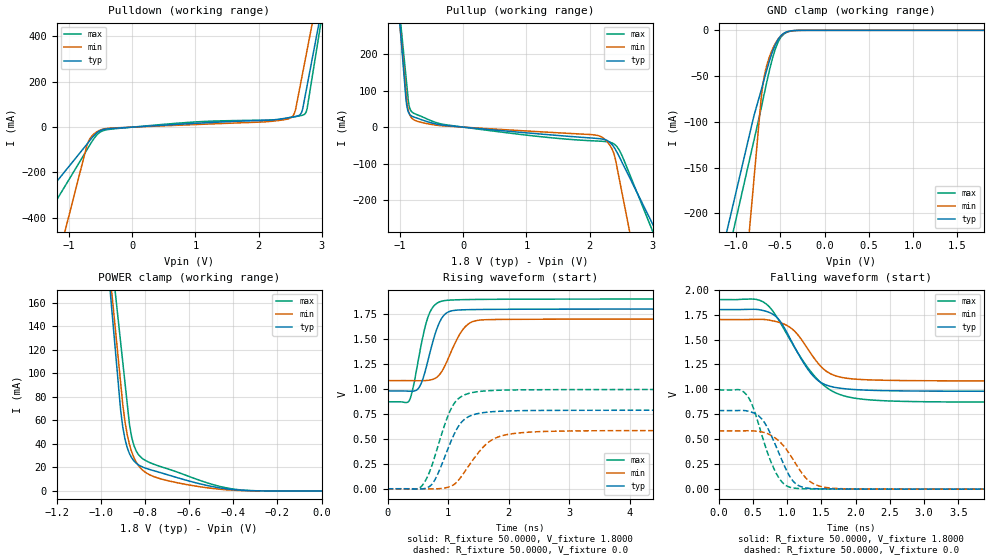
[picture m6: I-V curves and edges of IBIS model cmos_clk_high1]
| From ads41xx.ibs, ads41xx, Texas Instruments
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|   Model cmos_clk_high1
[Model]   cmos_clk_high1
Model_type 3-state
Polarity   Non-Inverting
Enable   Active-High
Vmeas=0.9
C_comp   2.0750pF   1.9000pF   2.2500pF
[Temperature Range]   25.0000   0.1250k   -40.0000
[Voltage Range]   1.8000V   1.7000V   1.9000V
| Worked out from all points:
|   slope of the pulldown table from 0 to 0.27 V, typ, clamps not added: 57.9 ohm
|   slope of the pullup table from 0 to 0.27 V, typ, clamps not added: 62.7 ohm
|   GND clamp passes 1 mA (typ) near -0.40 V on its own axis
|   POWER clamp passes 1 mA (typ) near -0.39 V on its own axis
|   rising waveform, R_fixture 50.0000, V_fixture 1.8000: 20-80 % time 231ps typ, 297ps min, 211ps max; typ from 0.98 V to 1.8 V
|   rising waveform, R_fixture 50.0000, V_fixture 0.0: 20-80 % time 339ps typ, 459ps min, 333ps max; typ from 0 V to 0.788 V
|   falling waveform, R_fixture 50.0000, V_fixture 1.8000: 20-80 % time 425ps typ, 409ps min, 601ps max; typ from 1.8 V to 0.98 V
|   falling waveform, R_fixture 50.0000, V_fixture 0.0: 20-80 % time 312ps typ, 364ps min, 295ps max; typ from 0.787 V to 0 V
[Pulldown]
|Voltage   I(typ)   I(min)   I(max)
-1.8V     -447.9mA   -1.259A    -599.8mA
-720mV    -75.84mA   -82.09mA   -100.5mA
-640mV    -47.62mA   -39.35mA   -63.99mA
-480mV    -12.56mA   -9.991mA   -17.81mA
870mV     14.65mA    9.956mA    20.57mA
2.48V     41.95mA    37.46mA    40.89mA
2.54V     44.81mA    48.15mA    44.31mA
2.58V     46.65mA    71.23mA    46.39mA
2.67V     59.25mA    197.2mA    50.79mA
2.72V     110.6mA    269.2mA    55.5mA
2.77V     183.8mA    341.1mA    82.43mA
3.6V      1.4A       1.535A     1.518A
[Pullup]
|Voltage   I(typ)   I(min)   I(max)
-1.8V     1.985A     1.8A       1.7A
-910mV    78.41mA    98.35mA    140.6mA
-890mV    53.38mA    64.8mA     105.5mA
-860mV    37.57mA    39.26mA    59.46mA
-780mV    27.41mA    19.76mA    37.54mA
-260mV    4.234mA    2.841mA    6.131mA
2.16V     -31.57mA   -24.52mA   -38.3mA
2.28V     -36.75mA   -39.86mA   -39.94mA
2.38V     -53.19mA   -69.91mA   -45.29mA
2.47V     -80.69mA   -141.1mA   -62.92mA
2.55V     -108.6mA   -211.4mA   -92.55mA
3.6V      -474.3mA   -1.134A    -541.5mA
[GND_clamp]
|Voltage   I(typ)   I(min)   I(max)
-1.8V     -504.9mA   -1.25A     -544.4mA
-800mV    -93.26mA   -162.7mA   -120.1mA
-720mV    -66.05mA   -75.75mA   -85.86mA
-710mV    -62.52mA   -66.95mA   -81.33mA
-690mV    -55.42mA   -53.64mA   -72.21mA
-670mV    -48.38mA   -43.99mA   -63.13mA
-620mV    -31.88mA   -27.59mA   -41.68mA
-560mV    -16.06mA   -14.66mA   -20.84mA
-500mV    -6.385mA   -6.497mA   -8.199mA
-450mV    -2.54mA    -2.796mA   -3.339mA
-270mV    -23.71uA   -42.25uA   -40.76uA
1.8V      5.785nA    96.42nA    1.725nA
[POWER_clamp]
|Voltage   I(typ)   I(min)   I(max)
-1.8V     1.973A     1.793A     1.681A
-1.07V    411.1mA    397.9mA    406mA
-910mV    68.83mA    92.21mA    126.6mA
-900mV    54.09mA    73.1mA     109.1mA
-890mV    43.87mA    58.68mA    91.62mA
-870mV    31.74mA    39.51mA    56.69mA
-860mV    28.17mA    33.2mA     45.72mA
-840mV    23.7mA     24.62mA    34.17mA
-810mV    20.28mA    17.58mA    27.37mA
-690mV    13.32mA    8.432mA    18.33mA
-420mV    1.498mA    832.7uA    2.21mA
0V        5.785nA    -260.3nA   2.441nA
[Ramp]
| variable   typ   min   max
dV/dt_r  0.4726/0.3391n   0.3504/0.4592n   0.5970/0.3331n
dV/dt_f  0.4921/0.4247n   0.3700/0.4090n   0.6176/0.6007n
R_load = 50.0000
[Rising Waveform]
R_fixture= 50.0000
V_fixture= 1.8000
V_fixture_min= 1.7000
V_fixture_max= 1.9000
|time   V(typ)   V(min)   V(max)
0s        979.9mV    1.084V     870.8mV
360ps     977.1mV    1.083V     885.2mV
510ps     1.006V     1.082V     1.296V
615ps     1.163V     1.083V     1.608V
705ps     1.375V     1.089V     1.775V
840ps     1.642V     1.132V     1.867V
960ps     1.754V     1.248V     1.886V
1.275ns   1.793V     1.617V     1.894V
1.59ns    1.796V     1.692V     1.897V
14.99ns   1.8V       1.7V       1.9V
[Rising Waveform]
R_fixture= 50.0000
V_fixture= 0.0
V_fixture_min= 0.0
V_fixture_max= 0.0
|time   V(typ)   V(min)   V(max)
0s        764nV      32.99uV    2.877nV
555ps     -2.157mV   -200.8uV   21.96mV
765ps     72.03mV    -1.135mV   293.5mV
960ps     342.5mV    9.926mV    668.7mV
1.08ns    520.2mV    36.27mV    835.2mV
1.26ns    690.2mV    157.9mV    937.1mV
1.53ns    757.7mV    383.2mV    975.4mV
1.89ns    777.3mV    530.8mV    987.6mV
2.7ns     784.8mV    575.7mV    992.4mV
14.99ns   787.6mV    584mV      995mV
[Falling Waveform]
R_fixture= 50.0000
V_fixture= 1.8000
V_fixture_min= 1.7000
V_fixture_max= 1.9000
|time   V(typ)   V(min)   V(max)
0s        1.8V       1.7V       1.9V
510ps     1.803V     1.701V     1.905V
675ps     1.786V     1.7V       1.866V
870ps     1.707V     1.674V     1.702V
1.065ns   1.482V     1.61V      1.472V
1.275ns   1.229V     1.434V     1.243V
1.44ns    1.095V     1.272V     1.103V
1.68ns    1.023V     1.143V     974.7mV
2.13ns    993.2mV    1.097V     899.6mV
14.99ns   979.8mV    1.083V     870.7mV
[Falling Waveform]
R_fixture= 50.0000
V_fixture= 0.0
V_fixture_min= 0.0
V_fixture_max= 0.0
|time   V(typ)   V(min)   V(max)
0s        787.3mV    583.9mV    994.8mV
375ps     788.1mV    584.9mV    968.8mV
480ps     772.1mV    584.9mV    860.5mV
600ps     725.1mV    577mV      614mV
735ps     586.7mV    549.6mV    325.3mV
870ps     377.5mV    489.2mV    124mV
1.125ns   55.41mV    255.9mV    8.999mV
1.38ns    5.516mV    56.43mV    2.694mV
1.83ns    1.515mV    3.762mV    948.1uV
14.99ns   647.6nV    32.96uV    -39.39nV
